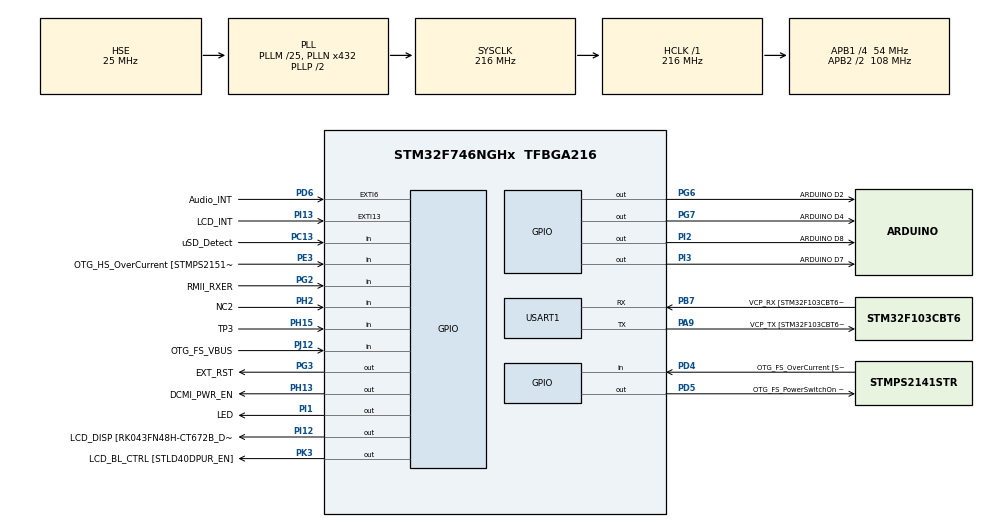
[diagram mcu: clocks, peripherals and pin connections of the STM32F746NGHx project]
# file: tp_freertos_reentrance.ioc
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FREERTOS.Tasks01=defaultTask,0,128,StartDefaultTask,Default,NULL,Dynamic,NULL,NULL
Mcu.Family=STM32F7
Mcu.Name=STM32F746NGHx
Mcu.Package=TFBGA216
NVIC.PriorityGroup=NVIC_PRIORITYGROUP_4
PA0/WKUP.GPIO_Label=ARDUINO A0
PA0/WKUP.GPIO_Mode=GPIO_MODE_ANALOG
PA0/WKUP.GPIO_PuPd=GPIO_NOPULL
PA0/WKUP.Signal=ADCx_IN0
PA1.GPIO_Label=RMII_REF_CLK [LAN8742A-CZ-TR_REFCLK0]
PA1.Signal=ETH_REF_CLK
PA10.GPIO_Label=OTG_FS_ID
PA10.Signal=USB_OTG_FS_ID
PA11.GPIO_Label=OTG_FS_N
PA11.Signal=USB_OTG_FS_DM
PA12.GPIO_Label=OTG_FS_P
PA12.Signal=USB_OTG_FS_DP
PA13.GPIO_Label=SWDIO
PA13.Mode=Serial_Wire
PA13.Signal=SYS_JTMS-SWDIO
PA14.GPIO_Label=SWCLK
PA14.Mode=Serial_Wire
PA14.Signal=SYS_JTCK-SWCLK
PA15.GPIO_Label=ARDUINO PWM/D9
PA15.GPIO_ModeDefaultPP=GPIO_MODE_AF_PP
PA15.GPIO_PuPd=GPIO_NOPULL
PA15.GPIO_Speed=GPIO_SPEED_FREQ_LOW
PA15.Signal=S_TIM2_CH1_ETR
PA2.GPIO_Label=RMII_MDIO [LAN8742A-CZ-TR_MDIO]
PA2.Signal=ETH_MDIO
PA3.GPIO_Label=ULPI_D0 [USB3320C-EZK_D0]
PA3.Signal=USB_OTG_HS_ULPI_D0
PA4.GPIO_Label=DCMI_HSYNC
PA4.Signal=DCMI_HSYNC
PA5.GPIO_Label=ULPI_CLK [USB3320C-EZK_CLKOUT]
PA5.Signal=USB_OTG_HS_ULPI_CK
PA6.Signal=DCMI_PIXCLK
PA7.GPIO_Label=RMII_CRS_DV [LAN8742A-CZ-TR_CRS_DV]
PA7.Signal=ETH_CRS_DV
PA8.GPIO_Label=ARDUINO PWM/D10
PA8.GPIO_ModeDefaultPP=GPIO_MODE_AF_PP
PA8.GPIO_PuPd=GPIO_NOPULL
PA8.GPIO_Speed=GPIO_SPEED_FREQ_LOW
PA8.Signal=S_TIM1_CH1
PA9.GPIO_Label=VCP_TX [STM32F103CBT6_PA3]
PA9.GPIO_Mode=GPIO_MODE_AF_PP
PA9.GPIO_PuPd=GPIO_NOPULL
PA9.GPIO_Speed=GPIO_SPEED_FREQ_LOW
PA9.Mode=Asynchronous
PA9.Signal=USART1_TX
PB0.GPIO_Label=ULPI_D1 [USB3320C-EZK_D1]
PB0.Signal=USB_OTG_HS_ULPI_D1
PB1.GPIO_Label=ULPI_D2 [USB3320C-EZK_D2]
PB1.Signal=USB_OTG_HS_ULPI_D2
PB10.GPIO_Label=ULPI_D3 [USB3320C-EZK_D3]
PB10.Signal=USB_OTG_HS_ULPI_D3
PB11.GPIO_Label=ULPI_D4 [USB3320C-EZK_D4]
PB11.Signal=USB_OTG_HS_ULPI_D4
PB12.GPIO_Label=ULPI_D5 [USB3320C-EZK_D5]
PB12.Signal=USB_OTG_HS_ULPI_D5
PB13.GPIO_Label=ULPI_D6 [USB3320C-EZK_D6]
PB13.Signal=USB_OTG_HS_ULPI_D6
PB14.GPIO_Label=ARDUINO MISO/D12
PB14.GPIO_Mode=GPIO_MODE_AF_PP
PB14.GPIO_PuPd=GPIO_NOPULL
PB14.GPIO_Speed=GPIO_SPEED_FREQ_LOW
PB14.Signal=SPI2_MISO
PB15.GPIO_Label=ARDUINO MOSI/PWM/D11
PB15.GPIO_Mode=GPIO_MODE_AF_PP
PB15.GPIO_PuPd=GPIO_NOPULL
PB15.GPIO_Speed=GPIO_SPEED_FREQ_LOW
PB15.Signal=SPI2_MOSI
PB2.Signal=QUADSPI_CLK
PB3.GPIO_Label=SWO
PB3.Signal=SYS_JTDO-SWO
PB4.GPIO_Label=ARDUINO PWM/D3
PB4.GPIO_ModeDefaultPP=GPIO_MODE_AF_PP
PB4.GPIO_PuPd=GPIO_NOPULL
PB4.GPIO_Speed=GPIO_SPEED_FREQ_LOW
PB4.Signal=S_TIM3_CH1
PB5.GPIO_Label=ULPI_D7 [USB3320C-EZK_D7]
PB5.Signal=USB_OTG_HS_ULPI_D7
PB6.GPIO_Label=QSPI_NCS [N25Q128A13EF840E_S]
PB6.Signal=QUADSPI_BK1_NCS
PB7.GPIO_Label=VCP_RX [STM32F103CBT6_PA2]
PB7.GPIO_Mode=GPIO_MODE_AF_PP
PB7.GPIO_PuPd=GPIO_NOPULL
PB7.GPIO_Speed=GPIO_SPEED_FREQ_LOW
PB7.Mode=Asynchronous
PB7.Signal=USART1_RX
PB8.GPIO_Label=ARDUINO SCL/D15
PB8.GPIO_Mode=GPIO_MODE_AF_OD
PB8.GPIO_PuPd=GPIO_NOPULL
PB8.GPIO_Speed=GPIO_SPEED_FREQ_LOW
PB8.Signal=I2C1_SCL
PB9.GPIO_Label=ARDUINO SDA/D14
PB9.GPIO_Mode=GPIO_MODE_AF_OD
PB9.GPIO_PuPd=GPIO_NOPULL
PB9.GPIO_Speed=GPIO_SPEED_FREQ_LOW
PB9.Signal=I2C1_SDA
PC0.GPIO_Label=ULPI_STP [USB3320C-EZK_STP]
PC0.Signal=USB_OTG_HS_ULPI_STP
PC1.GPIO_Label=RMII_MDC [LAN8742A-CZ-TR_MDC]
PC1.Signal=ETH_MDC
PC10.GPIO_Label=SDMMC_D2
PC10.Signal=SDMMC1_D2
PC11.GPIO_Label=SDMMC_D3
PC11.Signal=SDMMC1_D3
PC12.GPIO_Label=SDMMC_CK
PC12.Signal=SDMMC1_CK
PC13.GPIO_Label=uSD_Detect
PC13.Signal=GPIO_Input
PC14/OSC32_IN.GPIO_Label=RCC_OSC32_IN
PC14/OSC32_IN.Signal=RCC_OSC32_IN
PC15/OSC32_OUT.GPIO_Label=RCC_OSC32_OUT
PC15/OSC32_OUT.Signal=RCC_OSC32_OUT
PC2.GPIO_Label=ULPI_DIR [USB3320C-EZK_DIR]
PC2.Signal=USB_OTG_HS_ULPI_DIR
PC3.GPIO_Label=FMC_SDCKE0 [MT48LC4M32B2B5-6A_CKE]
PC3.Signal=FMC_SDCKE0
PC4.GPIO_Label=RMII_RXD0 [LAN8742A-CZ-TR_RXD0]
PC4.Signal=ETH_RXD0
PC5.GPIO_Label=RMII_RXD1 [LAN8742A-CZ-TR_RXD1]
PC5.Signal=ETH_RXD1
PC6.GPIO_Label=ARDUINO TX/D1
PC6.Signal=USART6_TX
PC7.GPIO_Label=ARDUINO RX/D0
PC7.Signal=USART6_RX
PC8.Signal=SDMMC1_D0
PC9.Signal=SDMMC1_D1
PD0.GPIO_Label=FMC_D2 [MT48LC4M32B2B5-6A_DQ2]
PD0.Signal=FMC_D2_DA2
PD1.GPIO_Label=FMC_D3 [MT48LC4M32B2B5-6A_DQ3]
PD1.Signal=FMC_D3_DA3
PD10.GPIO_Label=FMC_D15 [MT48LC4M32B2B5-6A_DQ15]
PD10.Signal=FMC_D15_DA15
PD11.GPIO_Label=QSPI_D0 [N25Q128A13EF840E_DQ0]
PD11.Signal=QUADSPI_BK1_IO0
PD12.GPIO_Label=QSPI_D1 [N25Q128A13EF840E_DQ1]
PD12.Signal=QUADSPI_BK1_IO1
PD13.GPIO_Label=QSPI_D3 [N25Q128A13EF840E_DQ3]
PD13.Signal=QUADSPI_BK1_IO3
PD14.GPIO_Label=FMC_D0 [MT48LC4M32B2B5-6A_DQ0]
PD14.Signal=FMC_D0_DA0
PD15.GPIO_Label=FMC_D1 [MT48LC4M32B2B5-6A_DQ1]
PD15.Signal=FMC_D1_DA1
PD2.GPIO_Label=SDMMC_D0
PD2.Signal=SDMMC1_CMD
PD3.GPIO_Label=DCMI_D5
PD3.Signal=DCMI_D5
PD4.GPIO_Label=OTG_FS_OverCurrent [STMPS2141STR_Fault]
PD4.Signal=GPIO_Input
PD5.GPIO_Label=OTG_FS_PowerSwitchOn [STMPS2141STR_EN]
PD5.PinState=GPIO_PIN_SET
PD5.Signal=GPIO_Output
PD6.GPIO_Label=Audio_INT
PD6.GPIO_ModeDefaultEXTI=GPIO_MODE_EVT_RISING
PD6.Signal=GPXTI6
PD7.GPIO_Label=SPDIF_RX0 [74LVC1G04SE_4]
PD7.Signal=SPDIFRX_IN0
PD8.GPIO_Label=FMC_D13 [MT48LC4M32B2B5-6A_DQ13]
PD8.Signal=FMC_D13_DA13
PD9.GPIO_Label=FMC_D14 [MT48LC4M32B2B5-6A_DQ14]
PD9.Signal=FMC_D14_DA14
PE0.GPIO_Label=FMC_NBL0 [MT48LC4M32B2B5-6A_DQM0]
PE0.Signal=FMC_NBL0
PE1.GPIO_Label=FMC_NBL1 [MT48LC4M32B2B5-6A_DQM1]
PE1.Signal=FMC_NBL1
PE10.GPIO_Label=FMC_D7 [MT48LC4M32B2B5-6A_DQ7]
PE10.Signal=FMC_D7_DA7
PE11.GPIO_Label=FMC_D8 [MT48LC4M32B2B5-6A_DQ8]
PE11.Signal=FMC_D8_DA8
PE12.GPIO_Label=FMC_D9 [MT48LC4M32B2B5-6A_DQ9]
PE12.Signal=FMC_D9_DA9
PE13.GPIO_Label=FMC_D10 [MT48LC4M32B2B5-6A_DQ10]
PE13.Signal=FMC_D10_DA10
PE14.GPIO_Label=FMC_D11 [MT48LC4M32B2B5-6A_DQ11]
PE14.Signal=FMC_D11_DA11
PE15.GPIO_Label=FMC_D12 [MT48LC4M32B2B5-6A_DQ12]
PE15.Signal=FMC_D12_DA12
PE2.GPIO_Label=QSPI_D2 [N25Q128A13EF840E_DQ2]
PE2.Signal=QUADSPI_BK1_IO2
PE3.GPIO_Label=OTG_HS_OverCurrent [STMPS2151STR_FAULT]
PE3.Signal=GPIO_Input
PE4.GPIO_Label=LCD_B0 [RK043FN48H-CT672B_B0]
PE4.Signal=LTDC_B0
PE5.GPIO_Label=DCMI_D6
PE5.Signal=DCMI_D6
PE6.GPIO_Label=DCMI_D7
PE6.Signal=DCMI_D7
PE7.GPIO_Label=FMC_D4 [MT48LC4M32B2B5-6A_DQ4]
PE7.Signal=FMC_D4_DA4
PE8.GPIO_Label=FMC_D5 [MT48LC4M32B2B5-6A_DQ5]
PE8.Signal=FMC_D5_DA5
PE9.GPIO_Label=FMC_D6 [MT48LC4M32B2B5-6A_DQ6]
PE9.Signal=FMC_D6_DA6
PF0.GPIO_Label=FMC_A0 [MT48LC4M32B2B5-6A_A0]
PF0.Signal=FMC_A0
PF1.GPIO_Label=FMC_A1 [MT48LC4M32B2B5-6A_A1]
PF1.Signal=FMC_A1
PF10.GPIO_Label=ARDUINO A1
PF10.GPIO_Mode=GPIO_MODE_ANALOG
PF10.GPIO_PuPd=GPIO_NOPULL
PF10.Signal=ADC3_IN8
PF11.GPIO_Label=FMC_SDNRAS [MT48LC4M32B2B5-6A_RAS]
PF11.Signal=FMC_SDNRAS
PF12.GPIO_Label=FMC_A6 [MT48LC4M32B2B5-6A_A6]
PF12.Signal=FMC_A6
PF13.GPIO_Label=FMC_A7 [MT48LC4M32B2B5-6A_A7]
PF13.Signal=FMC_A7
PF14.GPIO_Label=FMC_A8 [MT48LC4M32B2B5-6A_A8]
PF14.Signal=FMC_A8
PF15.GPIO_Label=FMC_A9 [MT48LC4M32B2B5-6A_A9]
PF15.Signal=FMC_A9
PF2.GPIO_Label=FMC_A2 [MT48LC4M32B2B5-6A_A2]
PF2.Signal=FMC_A2
PF3.GPIO_Label=FMC_A3 [MT48LC4M32B2B5-6A_A3]
PF3.Signal=FMC_A3
PF4.GPIO_Label=FMC_A4 [MT48LC4M32B2B5-6A_A4]
PF4.Signal=FMC_A4
PF5.GPIO_Label=FMC_A5 [MT48LC4M32B2B5-6A_A5]
PF5.Signal=FMC_A5
PF6.GPIO_Label=ARDUINO A5
PF6.GPIO_Mode=GPIO_MODE_ANALOG
PF6.GPIO_PuPd=GPIO_NOPULL
PF6.Signal=ADC3_IN4
PF7.GPIO_Label=ARDUINO A4
PF7.GPIO_Mode=GPIO_MODE_ANALOG
PF7.GPIO_PuPd=GPIO_NOPULL
PF7.Signal=ADC3_IN5
PF8.GPIO_Label=ARDUINO A3
PF8.GPIO_Mode=GPIO_MODE_ANALOG
PF8.GPIO_PuPd=GPIO_NOPULL
PF8.Signal=ADC3_IN6
PF9.GPIO_Label=ARDUINO A2
PF9.GPIO_Mode=GPIO_MODE_ANALOG
PF9.GPIO_PuPd=GPIO_NOPULL
PF9.Signal=ADC3_IN7
PG0.GPIO_Label=FMC_A10 [MT48LC4M32B2B5-6A_A10]
PG0.Signal=FMC_A10
PG1.GPIO_Label=FMC_A11 [MT48LC4M32B2B5-6A_A11]
PG1.Signal=FMC_A11
PG10.GPIO_Label=SAI2_SDB [WM8994ECS/R_ADCDAT1]
PG10.Signal=SAI2_SD_B
PG11.GPIO_Label=RMII_TX_EN [LAN8742A-CZ-TR_TXEN]
PG11.Signal=ETH_TX_EN
PG12.GPIO_Label=LCD_B4 [RK043FN48H-CT672B_B4]
PG12.Signal=LTDC_B4
PG13.GPIO_Label=RMII_TXD0 [LAN8742A-CZ-TR_TXD0]
PG13.Signal=ETH_TXD0
PG14.GPIO_Label=RMII_TXD1 [LAN8742A-CZ-TR_TXD1]
PG14.Signal=ETH_TXD1
PG15.GPIO_Label=FMC_SDNCAS [MT48LC4M32B2B5-6A_CAS]
PG15.Signal=FMC_SDNCAS
PG2.GPIO_Label=RMII_RXER
PG2.Signal=GPIO_Input
PG3.GPIO_Label=EXT_RST
PG3.Signal=GPIO_Output
PG4.GPIO_Label=FMC_BA0 [MT48LC4M32B2B5-6A_BA0]
PG4.Signal=FMC_A14_BA0
PG5.GPIO_Label=FMC_BA1 [MT48LC4M32B2B5-6A_BA1]
PG5.Signal=FMC_A15_BA1
PG6.GPIO_Label=ARDUINO D2
PG6.Signal=GPIO_Output
PG7.GPIO_Label=ARDUINO D4
PG7.Signal=GPIO_Output
PG8.GPIO_Label=FMC_SDCLK [MT48LC4M32B2B5-6A_CLK]
PG8.Signal=FMC_SDCLK
PG9.GPIO_Label=DCMI_VSYNC
PG9.Signal=DCMI_VSYNC
PH0/OSC_IN.GPIO_Label=OSC_25M [NZ2520SB-25.00M_OUT]
PH0/OSC_IN.Mode=HSE-External-Oscillator
PH0/OSC_IN.Signal=RCC_OSC_IN
PH1/OSC_OUT.Mode=HSE-External-Oscillator
PH1/OSC_OUT.Signal=RCC_OSC_OUT
PH10.GPIO_Label=DCMI_D1
PH10.Signal=DCMI_D1
PH11.GPIO_Label=DCMI_D2
PH11.Signal=DCMI_D2
PH12.GPIO_Label=DCMI_D3
PH12.Signal=DCMI_D3
PH13.GPIO_Label=DCMI_PWR_EN
PH13.Signal=GPIO_Output
PH14.GPIO_Label=DCMI_D4
PH14.Signal=DCMI_D4
PH15.GPIO_Label=TP3
PH15.Signal=GPIO_Input
PH2.GPIO_Label=NC2
PH2.Signal=GPIO_Input
PH3.GPIO_Label=FMC_SDNE0 [MT48LC4M32B2B5-6A_CS]
PH3.Signal=FMC_SDNE0
PH4.GPIO_Label=ULPI_NXT [USB3320C-EZK_NXT]
PH4.Signal=USB_OTG_HS_ULPI_NXT
PH5.GPIO_Label=FMC_SDNME [MT48LC4M32B2B5-6A_WE]
PH5.Signal=FMC_SDNWE
PH6.GPIO_Label=ARDUINO PWM/D6
PH6.Signal=S_TIM12_CH1
PH7.GPIO_Label=LCD_SCL [RK043FN48H-CT672B_SCL]
PH7.Signal=I2C3_SCL
PH8.GPIO_Label=LCD_SDA [RK043FN48H-CT672B_SDA]
PH8.Signal=I2C3_SDA
PH9.GPIO_Label=DCMI_D0
PH9.Signal=DCMI_D0
PI0.GPIO_Label=ARDUINO PWM/CS/D5
PI0.GPIO_ModeDefaultPP=GPIO_MODE_AF_PP
PI0.GPIO_PuPd=GPIO_NOPULL
PI0.GPIO_Speed=GPIO_SPEED_FREQ_LOW
PI0.Signal=S_TIM5_CH4
PI1.GPIO_Label=LED
PI1.Signal=GPIO_Output
PI10.GPIO_Label=LCD_HSYNC [RK043FN48H-CT672B_HSYNC]
PI10.Signal=LTDC_HSYNC
PI12.GPIO_Label=LCD_DISP [RK043FN48H-CT672B_DISP] 
PI12.Signal=GPIO_Output
PI13.GPIO_Label=LCD_INT
PI13.GPIO_ModeDefaultEXTI=GPIO_MODE_EVT_RISING
PI13.Signal=GPXTI13
PI14.GPIO_Label=LCD_CLK [RK043FN48H-CT672B_CLK]
PI14.Signal=LTDC_CLK
PI15.GPIO_Label=LCD_R0 [RK043FN48H-CT672B_R0]
PI15.Signal=LTDC_R0
PI2.GPIO_Label=ARDUINO D8
PI2.Signal=GPIO_Output
PI3.GPIO_Label=ARDUINO D7
PI3.Signal=GPIO_Output
PI4.GPIO_Label=SAI2_MCLKA [WM8994ECS/R_MCLK1]
PI4.Signal=SAI2_MCLK_A
PI5.GPIO_Label=SAI2_SCKA [WM8994ECS/R_BCLK1]
PI5.Signal=SAI2_SCK_A
PI6.GPIO_Label=SAI2_SDA [WM8994ECS/R_DACDAT1]
PI6.Signal=SAI2_SD_A
PI7.GPIO_Label=SAI2_FSA [WM8994ECS/R_LRCLK1]
PI7.Signal=SAI2_FS_A
PI8.GPIO_Label=NC1 [TP2]
PI8.Signal=RTC_TS
PI9.GPIO_Label=LCD_VSYNC [RK043FN48H-CT672B_VSYNC]
PI9.Signal=LTDC_VSYNC
PJ0.GPIO_Label=LCD_R1 [RK043FN48H-CT672B_R1]
PJ0.Signal=LTDC_R1
PJ1.GPIO_Label=LCD_R2 [RK043FN48H-CT672B_R2]
PJ1.Signal=LTDC_R2
PJ10.GPIO_Label=LCD_G3 [RK043FN48H-CT672B_G3]
PJ10.Signal=LTDC_G3
PJ11.GPIO_Label=LCD_G4 [RK043FN48H-CT672B_G4]
PJ11.Signal=LTDC_G4
PJ12.GPIO_Label=OTG_FS_VBUS
PJ12.Signal=GPIO_Input
PJ13.GPIO_Label=LCD_B1 [RK043FN48H-CT672B_B1]
PJ13.Signal=LTDC_B1
PJ14.GPIO_Label=LCD_B2 [RK043FN48H-CT672B_B2]
PJ14.Signal=LTDC_B2
PJ15.GPIO_Label=LCD_B3 [RK043FN48H-CT672B_B3]
PJ15.Signal=LTDC_B3
PJ2.GPIO_Label=LCD_R3 [RK043FN48H-CT672B_R3]
PJ2.Signal=LTDC_R3
PJ3.GPIO_Label=LCD_R4 [RK043FN48H-CT672B_R4]
PJ3.Signal=LTDC_R4
PJ4.GPIO_Label=LCD_R5 [RK043FN48H-CT672B_R5]
PJ4.Signal=LTDC_R5
PJ5.GPIO_Label=LCD_R6 [RK043FN48H-CT672B_R6]
PJ5.Signal=LTDC_R6
PJ6.GPIO_Label=LCD_R7 [RK043FN48H-CT672B_R7]
PJ6.Signal=LTDC_R7
PJ7.GPIO_Label=LCD_G0 [RK043FN48H-CT672B_G0]
PJ7.Signal=LTDC_G0
PJ8.GPIO_Label=LCD_G1 [RK043FN48H-CT672B_G1]
PJ8.Signal=LTDC_G1
PJ9.GPIO_Label=LCD_G2 [RK043FN48H-CT672B_G2]
PJ9.Signal=LTDC_G2
PK0.GPIO_Label=LCD_G5 [RK043FN48H-CT672B_G5]
PK0.Signal=LTDC_G5
PK1.GPIO_Label=LCD_G6 [RK043FN48H-CT672B_G6]
PK1.Signal=LTDC_G6
PK2.GPIO_Label=LCD_G7 [RK043FN48H-CT672B_G7]
PK2.Signal=LTDC_G7
PK3.GPIO_Label=LCD_BL_CTRL [STLD40DPUR_EN]
PK3.Signal=GPIO_Output
PK4.GPIO_Label=LCD_B5 [RK043FN48H-CT672B_B5]
PK4.Signal=LTDC_B5
PK5.GPIO_Label=LCD_B6 [RK043FN48H-CT672B_B6]
PK5.Signal=LTDC_B6
PK6.GPIO_Label=LCD_B7 [RK043FN48H-CT672B_B7]
PK6.Signal=LTDC_B7
PK7.GPIO_Label=LCD_DE [RK043FN48H-CT672B_DE]
PK7.Signal=LTDC_DE
ProjectManager.HeapSize=0x200
ProjectManager.StackSize=0x400
ProjectManager.TargetToolchain=STM32CubeIDE
RCC.AHBFreq_Value=216000000
RCC.APB1CLKDivider=RCC_HCLK_DIV4
RCC.APB1Freq_Value=54000000
RCC.APB1TimFreq_Value=108000000
RCC.APB2CLKDivider=RCC_HCLK_DIV2
RCC.APB2Freq_Value=108000000
RCC.APB2TimFreq_Value=216000000
RCC.CortexFreq_Value=216000000
RCC.HCLKFreq_Value=216000000
RCC.HSE_VALUE=25000000
RCC.HSI_VALUE=16000000
RCC.LSE_VALUE=32768
RCC.PLLM=25
RCC.PLLN=432
RCC.PLLSourceVirtual=RCC_PLLSOURCE_HSE
RCC.SYSCLKFreq_VALUE=216000000
RCC.SYSCLKSource=RCC_SYSCLKSOURCE_PLLCLK
RCC.USBFreq_Value=216000000
RCC.VCOOutputFreq_Value=432000000
SH.ADCx_IN0.0=ADC3_IN0
SH.FMC_A0.0=FMC_A0
SH.FMC_A1.0=FMC_A1
SH.FMC_A10.0=FMC_A10
SH.FMC_A11.0=FMC_A11
SH.FMC_A14_BA0.0=FMC_BA0
SH.FMC_A15_BA1.0=FMC_BA1
SH.FMC_A2.0=FMC_A2
SH.FMC_A3.0=FMC_A3
SH.FMC_A4.0=FMC_A4
SH.FMC_A5.0=FMC_A5
SH.FMC_A6.0=FMC_A6
SH.FMC_A7.0=FMC_A7
SH.FMC_A8.0=FMC_A8
SH.FMC_A9.0=FMC_A9
SH.FMC_D0_DA0.0=FMC_D0
SH.FMC_D10_DA10.0=FMC_D10
SH.FMC_D11_DA11.0=FMC_D11
SH.FMC_D12_DA12.0=FMC_D12
SH.FMC_D13_DA13.0=FMC_D13
SH.FMC_D14_DA14.0=FMC_D14
SH.FMC_D15_DA15.0=FMC_D15
SH.FMC_D1_DA1.0=FMC_D1
SH.FMC_D2_DA2.0=FMC_D2
SH.FMC_D3_DA3.0=FMC_D3
SH.FMC_D4_DA4.0=FMC_D4
SH.FMC_D5_DA5.0=FMC_D5
SH.FMC_D6_DA6.0=FMC_D6
SH.FMC_D7_DA7.0=FMC_D7
SH.FMC_D8_DA8.0=FMC_D8
SH.FMC_D9_DA9.0=FMC_D9
SH.FMC_NBL0.0=FMC_NBL0
SH.FMC_NBL1.0=FMC_NBL1
SH.FMC_SDCLK.0=FMC_SDCLK
SH.FMC_SDNCAS.0=FMC_SDNCAS
SH.FMC_SDNRAS.0=FMC_SDNRAS
SH.FMC_SDNWE.0=FMC_SDNWE
SH.S_TIM12_CH1.0=TIM12_CH1
SH.S_TIM1_CH1.0=TIM1_CH1
SH.S_TIM2_CH1_ETR.0=TIM2_CH1
SH.S_TIM3_CH1.0=TIM3_CH1
SH.S_TIM5_CH4.0=TIM5_CH4
USART1.VirtualMode-Asynchronous=VM_ASYNC
VP_FREERTOS_VS_CMSIS_V1.Mode=CMSIS_V1
board=STM32F746G-DISCO

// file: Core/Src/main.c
/* USER CODE BEGIN Header */
/**
  ******************************************************************************
  * @file           : main.c
  * @brief          : Main program body
  ******************************************************************************
  * @attention
  *
  * Copyright (c) 2022 STMicroelectronics.
  * All rights reserved.
  *
  * This software is licensed under terms that can be found in the LICENSE file
  * in the root directory of this software component.
  * If no LICENSE file comes with this software, it is provided AS-IS.
  *
  ******************************************************************************
  */
/* USER CODE END Header */
#include "main.h"
#include "cmsis_os.h"
#include "usart.h"
#include "gpio.h"

/* USER CODE BEGIN Includes */
#include <stdio.h>
/* USER CODE END Includes */

/* USER CODE BEGIN PV */
#define LED_STACK_SIZE 512
#define TAKE_STACK_SIZE 512
#define GIVE_STACK_SIZE 512
#define LED_PRIORITY 1
#define TAKE_PRIORITY 6
#define GIVE_PRIORITY 5
#define PORT_MAX_DELAY 1000
#define Q_DELAY_LENGTH 10
#define DELAY_SIZE 100*sizeof(uint8_t)
#define LONG_MAX 512

//SemaphoreHandle_t sem1;
SemaphoreHandle_t sem1;
TaskHandle_t hLed;
TaskHandle_t hGive;
TaskHandle_t hTake;
QueueHandle_t q_delay = NULL;
int delay = 100;
/* USER CODE END PV */

void SystemClock_Config(void);
void MX_FREERTOS_Init(void);

/* USER CODE BEGIN 0 */
int __io_putchar(int ch) {
	HAL_UART_Transmit(&huart1, (uint8_t *)&ch, 1, HAL_MAX_DELAY);
	return ch;
}

void task_led(void * unused)
{
	while(1)
	{
		HAL_GPIO_WritePin(LED_GPIO_Port, LED_Pin, SET);
		printf("LED on\r\n");
		vTaskDelay(delay);
		HAL_GPIO_WritePin(LED_GPIO_Port, LED_Pin, RESET);
		printf("LED off\r\n");
		vTaskDelay(delay);
	}
}

void task_give(void * unused)
{
	char msg[LONG_MAX];
	while(1)
	{
		printf("Before Notify Give\r\n");
		//xSemaphoreGive(sem1);
		xTaskNotifyGive(hTake);
		printf("After Notify Give\r\n");
		sprintf(msg, "delay %d \r\n",delay);
		xQueueSend(q_delay,(const void *)msg,portMAX_DELAY);

		vTaskDelay(delay);
	}
}

void task_take(void * unused)
{
	char delayBuff[LONG_MAX];
	while(1)
	{
		printf("Before Notify Take\r\n");
		/*if (xSemaphoreTake(sem1,PORT_MAX_DELAY)){
			printf("After Semaphore Take\r\n");}*/
		if (ulTaskNotifyTake(pdTRUE, PORT_MAX_DELAY))
		{
			printf("After Notify Take\r\n");
		}
		else
		{
			NVIC_SystemReset();
		}
		delay += 100;
		xQueueReceive(q_delay, (void *)delayBuff, portMAX_DELAY);
		printf("%s \r\n",delayBuff);
	}
}
/* USER CODE END 0 */

int main(void)
{

  /* MCU Configuration--------------------------------------------------------*/

  /* Reset of all peripherals, Initializes the Flash interface and the Systick. */
  HAL_Init();

  /* Configure the system clock */
  SystemClock_Config();

  /* Initialize all configured peripherals */
  MX_GPIO_Init();
  MX_USART1_UART_Init();
  /* USER CODE BEGIN 2 */
  BaseType_t ret;

  //ret=xTaskCreate(task_led, "LED", LED_STACK_SIZE, NULL, 1, &hLed);
  //configASSERT(ret == pdPASS);

  q_delay = xQueueCreate(Q_DELAY_LENGTH, DELAY_SIZE);
  //sem1=xSemaphoreCreateBinary();
  ret=xTaskCreate(task_give, "GIVE", GIVE_STACK_SIZE, NULL, GIVE_PRIORITY, &hGive);
  configASSERT(ret == pdPASS);
  ret=xTaskCreate(task_take, "TAKE", TAKE_STACK_SIZE, NULL, TAKE_PRIORITY, &hTake);
  configASSERT(ret == pdPASS);

  vTaskStartScheduler();
  /* USER CODE END 2 */

  /* Call init function for freertos objects (in freertos.c) */
  MX_FREERTOS_Init();

  /* Start scheduler */
  osKernelStart();

  /* We should never get here as control is now taken by the scheduler */
  /* Infinite loop */
  while (1)
  {

  }
}

void SystemClock_Config(void)
{
  RCC_OscInitTypeDef RCC_OscInitStruct = {0};
  RCC_ClkInitTypeDef RCC_ClkInitStruct = {0};

  /** Configure the main internal regulator output voltage
  */
  __HAL_RCC_PWR_CLK_ENABLE();
  __HAL_PWR_VOLTAGESCALING_CONFIG(PWR_REGULATOR_VOLTAGE_SCALE1);

  /** Initializes the RCC Oscillators according to the specified parameters
  * in the RCC_OscInitTypeDef structure.
  */
  RCC_OscInitStruct.OscillatorType = RCC_OSCILLATORTYPE_HSE;
  RCC_OscInitStruct.HSEState = RCC_HSE_ON;
  RCC_OscInitStruct.PLL.PLLState = RCC_PLL_ON;
  RCC_OscInitStruct.PLL.PLLSource = RCC_PLLSOURCE_HSE;
  RCC_OscInitStruct.PLL.PLLM = 25;
  RCC_OscInitStruct.PLL.PLLN = 432;
  RCC_OscInitStruct.PLL.PLLP = RCC_PLLP_DIV2;
  RCC_OscInitStruct.PLL.PLLQ = 2;
  if (HAL_RCC_OscConfig(&RCC_OscInitStruct) != HAL_OK)
  {
    Error_Handler();
  }

  /** Activate the Over-Drive mode
  */
  if (HAL_PWREx_EnableOverDrive() != HAL_OK)
  {
    Error_Handler();
  }

  /** Initializes the CPU, AHB and APB buses clocks
  */
  RCC_ClkInitStruct.ClockType = RCC_CLOCKTYPE_HCLK|RCC_CLOCKTYPE_SYSCLK
                              |RCC_CLOCKTYPE_PCLK1|RCC_CLOCKTYPE_PCLK2;
  RCC_ClkInitStruct.SYSCLKSource = RCC_SYSCLKSOURCE_PLLCLK;
  RCC_ClkInitStruct.AHBCLKDivider = RCC_SYSCLK_DIV1;
  RCC_ClkInitStruct.APB1CLKDivider = RCC_HCLK_DIV4;
  RCC_ClkInitStruct.APB2CLKDivider = RCC_HCLK_DIV2;

  if (HAL_RCC_ClockConfig(&RCC_ClkInitStruct, FLASH_LATENCY_7) != HAL_OK)
  {
    Error_Handler();
  }
}

void Error_Handler(void)
{
  __disable_irq();
  while (1)
  {
  }
}
